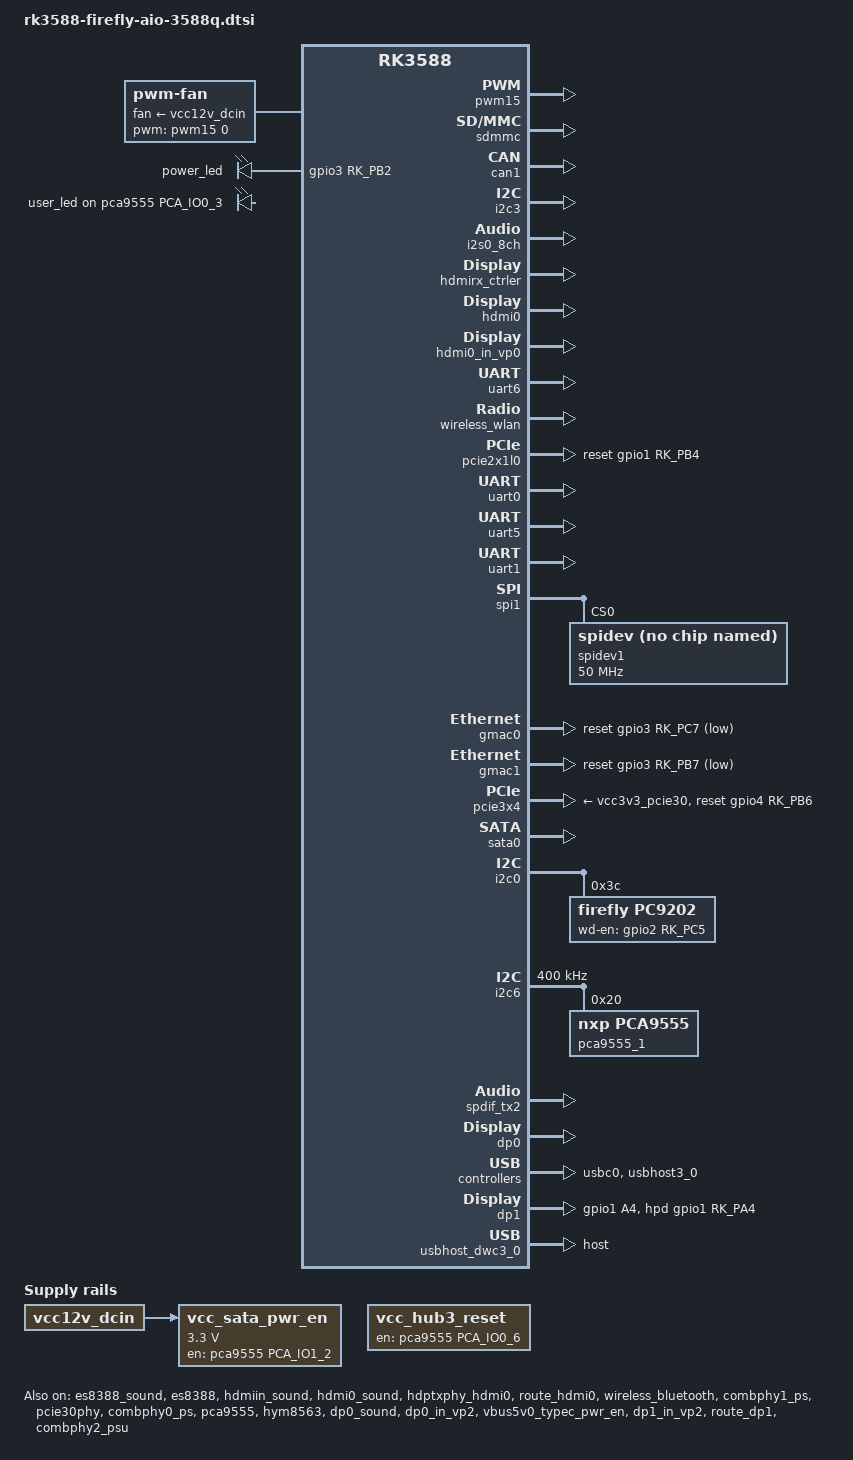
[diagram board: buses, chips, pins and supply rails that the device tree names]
// SPDX-License-Identifier: (GPL-2.0+ OR MIT)
/*
 * Copyright (c) 2021 Rockchip Electronics Co., Ltd.
 *
 */
 
#define rk3588
#include "rk3588-firefly-port.dtsi"
#include "rk3588-diff.dtsi"

#define M2_SATA_OR_PCIE 1 /*1 = SATA , 0 = PCIe */

 / {
	chosen: chosen {
		bootargs = "earlycon=uart8250,mmio32,0xfeb50000 console=ttyFIQ0 irqchip.gicv3_pseudo_nmi=0 root=PARTLABEL=rootfs rootfstype=ext4 ro rootwait overlayroot=device:dev=PARTLABEL=userdata,fstype=ext4,mkfs=1 coherent_pool=1m systemd.gpt_auto=0 cgroup_enable=memory swapaccount=1 net.ifnames=0";
	};
	fan: pwm-fan {
		compatible = "pwm-fan";
		#cooling-cells = <2>;
		fan-supply = <&vcc12v_dcin>;
		pwms = <&pwm15 0 50000 0>;
	};

};

/* recovery key*/
&adc_keys{
	keyup-threshold-microvolt = <550000>;
	status="okay";
};

/* led */
&power_led{
	gpios = <&gpio3 RK_PB2 GPIO_ACTIVE_HIGH>;
	pinctrl-names = "default";
	pinctrl-0 = <&led_power>;
};

&user_led{
	gpios = <&pca9555 PCA_IO0_3 GPIO_ACTIVE_HIGH>;
};

&pwm15 {
	pinctrl-0 = <&pwm15m2_pins>;
	status = "okay";
};


/* tf-card */
&sdmmc {
	status = "okay";
};

&vcc_sdcard_pwr_en{
	gpio = <&pca9555 PCA_IO1_5 GPIO_ACTIVE_HIGH>;  //PCA_IO 15
	status = "okay";
};

/* can1 */
&can1 {
	status = "okay";
	assigned-clocks = <&cru CLK_CAN1>;
	assigned-clock-rates = <200000000>;
	pinctrl-names = "default";
	pinctrl-0 = <&can1m1_pins>;
};

/* es8323 audio codec */
&i2c3 {
	status = "okay";
};

&es8388_sound{
	firefly,not-use-dapm;
	/delete-property/ spk-con-gpio;
	io-channels = <&saradc 1>;
	linein-type = <4>;
	status = "okay";
};

&es8388{
	status = "okay";
};

&i2s0_8ch{
	status = "okay";
};

/* hdmi rx */
&hdmiin_sound{
	status = "okay";
};

&hdmirx_ctrler {
	status = "okay";
	hpd-trigger-level = <1>;
	hdmirx-det-gpios = <&gpio1 RK_PD5 GPIO_ACTIVE_LOW>;
};

/* hdmi0 */
&hdmi0 {
	enable-gpios = <&gpio4 RK_PA0 GPIO_ACTIVE_HIGH>;
	status = "okay";
};

&hdmi0_in_vp0 {
	status = "okay";
};

&hdmi0_sound {
	status = "okay";
};

&hdptxphy_hdmi0 {
	status = "okay";
};

&route_hdmi0{
	status = "okay";
};

/*ap6275 : bluetooth*/
&wireless_bluetooth{
	status = "okay";
};

&uart6 {
	pinctrl-names = "default";
	pinctrl-0 = <&uart6m1_xfer &uart6m1_ctsn>;
	status = "okay";
};

/* ap6275 : wifi */
&wireless_wlan{
	wifi_chip_type = "ap6275p";
	status = "okay";
};

&combphy1_ps {
	status = "okay";
};

&pcie2x1l0 {
	reset-gpios = <&gpio1 RK_PB4 GPIO_ACTIVE_HIGH>;
	rockchip,skip-scan-in-resume;
	status = "okay";
};

/* RS232_0 */
&uart0{
	pinctrl-0 = <&uart0m2_xfer>;
	status = "okay";
};

/* RS232_1 */
&uart5{
	pinctrl-0 = <&uart5m1_xfer>;
	status = "okay";
};

/* RS485 */
&uart1{
	pinctrl-0 = <&uart1m1_xfer>;
	status = "okay";
};

/* spi1 */
&spi1 {
	status = "okay";
	pinctrl-0 = <&spi1m2_cs0 &spi1m2_pins>;
	num-cs = <1>;
	max-freq = <50000000>;
    spidev1: spidev@0{
        compatible = "rockchip,spidev";
        status = "okay";
        reg = <0x0>;
        spi-max-frequency = <50000000>;
    };
};

/* gamc0 */
&gmac0 {
	snps,reset-gpio = <&gpio3 RK_PC7 GPIO_ACTIVE_LOW>;
	tx_delay = <0x47>;
	status = "okay";
};

&gmac0_tx_bus2{
    rockchip,pins =
    /* gmac0_txd0 */
    <2 RK_PB6 1 &pcfg_pull_up_drv_level_6>,
    /* gmac0_txd1 */
    <2 RK_PB7 1 &pcfg_pull_up_drv_level_6>,
    /* gmac0_txen */
    <2 RK_PC0 1 &pcfg_pull_none>;
};

&gmac0_rgmii_bus{
	rockchip,pins =
	/* gmac0_rxd2 */
	<2 RK_PA6 1 &pcfg_pull_none>,
	/* gmac0_rxd3 */
	<2 RK_PA7 1 &pcfg_pull_none>,
	/* gmac0_txd2 */
	<2 RK_PB1 1 &pcfg_pull_up_drv_level_6>,
	/* gmac0_txd3 */
	<2 RK_PB2 1 &pcfg_pull_up_drv_level_6>;
};

/* gmac1 */
&gmac1 {
	snps,reset-gpio = <&gpio3 RK_PB7 GPIO_ACTIVE_LOW>;
	tx_delay = <0x4f>;
	status = "okay";
};

&gmac1_tx_bus2{
	rockchip,pins =
	/* gmac1_txd0 */
	<3 RK_PB3 1 &pcfg_pull_up_drv_level_6>,
    /* gmac1_txd1 */
	<3 RK_PB4 1 &pcfg_pull_up_drv_level_6>,
	/* gmac1_txen */
	<3 RK_PB5 1 &pcfg_pull_none>;
};

&gmac1_rgmii_bus{
	rockchip,pins =
	/* gmac1_rxd2 */
	<3 RK_PA2 1 &pcfg_pull_none>,
	/* gmac1_rxd3 */
	<3 RK_PA3 1 &pcfg_pull_none>,
	/* gmac1_txd2 */
	<3 RK_PA0 1 &pcfg_pull_up_drv_level_6>,
	/* gmac1_txd3 */
	<3 RK_PA1 1 &pcfg_pull_up_drv_level_6>;
};

/* pcie3.0 x 4 slot */
&pcie30phy {
	status = "okay";
};

&pcie3x4 {
	reset-gpios = <&gpio4 RK_PB6 GPIO_ACTIVE_HIGH>;
	vpcie3v3-supply = <&vcc3v3_pcie30>;
	status = "okay";
};

&vcc3v3_pcie30{
	gpios = <&gpio4 RK_PC6 GPIO_ACTIVE_HIGH>;
	startup-delay-us = <5000>;
	status = "okay";
};

/* sata pm */
&combphy0_ps {
	status = "okay";
};


#if M2_SATA_OR_PCIE
&sata0 {
    //pinctrl-names = "default";
    //pinctrl-0 = <&sata_reset>;
	status = "okay";
};
#else
&pcie2x1l2 {
	reset-gpios = <&pca9555 PCA_IO1_6 GPIO_ACTIVE_HIGH>;
	vpcie3v3-supply = <&vcc_sata_pwr_en>;
	status = "okay";
};
#endif

&vcc_sata_pwr_en{
	status = "okay";
	gpio = <&pca9555 PCA_IO1_2 GPIO_ACTIVE_HIGH>;  //PCA_IO 12
	regulator-min-microvolt = <3300000>;
	regulator-max-microvolt = <3300000>;
	regulator-always-on;
	enable-active-high;
	startup-delay-us = <5000>;
	vin-supply = <&vcc12v_dcin>;
};

/* usb power */
&vcc5v0_host{
	gpio = <&pca9555 PCA_IO0_5 GPIO_ACTIVE_HIGH>;
	vin-supply = <&vcc5v0_usb>;
	status = "okay";
};

&vcc_hub_reset{
	status = "okay"; 
	gpio = <&pca9555 PCA_IO0_4 GPIO_ACTIVE_HIGH>;  //PCA_IO 04
};

&vcc_hub3_reset{
	status = "okay";
	compatible = "regulator-fixed-firefly","regulator-fixed-firefly-uboot";
	regulator-name = "vcc_hub3_reset";
	enable-active-high;
	enable-active-low-uboot;
	regulator-always-on;
	regulator-fixed-kernel-reset-ms = <3000>;
	gpio = <&pca9555 PCA_IO0_6 GPIO_ACTIVE_HIGH>;  //PCA_IO 06
};

&vcc5v0_host3{
	gpio = <&pca9555 PCA_IO0_7 GPIO_ACTIVE_HIGH>;  //PCA_IO 07
	status = "okay";
};

&i2c0 {
	status = "okay";

    pc9202@3c {
        status = "okay";
        compatible = "firefly,pc9202";
        reg = <0x3c>;
		//pinctrl-names = "default";
		//pinctrl-0 = <&pc9202_en_pin>;
        //wd-en-gpio = <&gpio4 RK_PD1 GPIO_ACTIVE_HIGH>;
        wd-en-gpio = <&gpio2 RK_PC5 GPIO_ACTIVE_HIGH>;
    };
};

/* i2c6 */
&i2c6 {
	clock-frequency = <400000>; // For others Display Port Screen
	status = "okay";

	pca9555_1: gpio@20 {
        compatible = "nxp,pca9555";
        reg = <0x20>;
        gpio-controller;
        #gpio-cells = <2>;
        gpio-group-num = <300>;
        status = "okay";
    };

};

/* pca9555 */
&pca9555{ 
	status = "okay"; 
};

/* rtc */
&hym8563{
	interrupt-parent = <&gpio0>;
	interrupts = <RK_PB0 IRQ_TYPE_LEVEL_LOW>;
	status = "okay";
};

/* display port0 */
&spdif_tx2{
	status = "okay";
};

&dp0_sound{
	status = "okay";
};

&dp0 {
	status = "okay";
};

&dp0_in_vp2 {
	status = "okay";
};

&usbc0{
	status = "okay";
	interrupt-parent = <&gpio0>;
	interrupts = <RK_PD3 IRQ_TYPE_LEVEL_LOW>;
};

&vbus5v0_typec_pwr_en{
	status = "okay";
	gpio = <&pca9555 PCA_IO1_4 GPIO_ACTIVE_HIGH>;  //PCA_IO 14
};

&usbdp_phy0 {
    sbu1-dc-gpios = <&pca9555 PCA_IO1_0 GPIO_ACTIVE_HIGH>;
    sbu2-dc-gpios = <&pca9555 PCA_IO1_1 GPIO_ACTIVE_HIGH>;
};

/* display port1 to vga */
&dp1_in_vp2 {
	status = "okay";
};

&dp1 {
	pinctrl-names = "default";
	pinctrl-0 = <&dp1_hpd>;
	hpd-gpios = <&gpio1 RK_PA4 GPIO_ACTIVE_HIGH>;
	status = "okay";
};
&route_dp1{
	status = "okay";
	connect = <&vp2_out_dp1>;
};

/*usb3.1 host2 controller for 5G module*/
&usbhost3_0 {
    status = "okay";
};

&usbhost_dwc3_0 {
    dr_mode = "host";
    status = "okay";
};

&combphy2_psu {
    status = "okay"; // USB3.1/SATA/PCIe Combo PHY

};


/* pinctrl */
&pinctrl {

	dp {
		dp1_hpd: dp1-hpd {
			 rockchip,pins = <1 RK_PA4 RK_FUNC_GPIO &pcfg_pull_none>;
		};
	};

	leds {
		led_power: led-power {
			rockchip,pins = <3 RK_PB2 RK_FUNC_GPIO &pcfg_pull_none>;
		};
 	};

	hdmirx {
		hdmirx_det: hdmirx-det {
			rockchip,pins = <1 RK_PD5 RK_FUNC_GPIO &pcfg_pull_up>;
		};
	};

	headphone {
		hp_det: hp-det {
			rockchip,pins = <1 RK_PC4 RK_FUNC_GPIO &pcfg_pull_none>;
		};
	};

	hym8563 {
		hym8563_int: hym8563-int {
			rockchip,pins = <0 RK_PB0 RK_FUNC_GPIO &pcfg_pull_up>;
		};
	};

	lcd {
		lcd_rst_gpio: lcd-rst-gpio {
			rockchip,pins = <2 RK_PB4 RK_FUNC_GPIO &pcfg_pull_none>;
		};
	};

	touch {
		touch_gpio: touch-gpio {
			rockchip,pins =
				<0 RK_PD5 RK_FUNC_GPIO &pcfg_pull_up>,
				<0 RK_PC6 RK_FUNC_GPIO &pcfg_pull_none>;
		};
	};

	usb-typec { 
		usbc0_int: usbc0-int { 
			rockchip,pins = <0 RK_PD3 RK_FUNC_GPIO &pcfg_pull_up>; 
		}; 
	};

	wireless-bluetooth {
		uart6_gpios: uart6-gpios {
			rockchip,pins = <1 RK_PA2 RK_FUNC_GPIO &pcfg_pull_none>;
		};

		bt_reset_gpio: bt-reset-gpio {
			rockchip,pins = <0 RK_PC6 RK_FUNC_GPIO &pcfg_pull_none>;
		};

		bt_wake_gpio: bt-wake-gpio {
			rockchip,pins = <0 RK_PC5 RK_FUNC_GPIO &pcfg_pull_none>;
		};

		bt_irq_gpio: bt-irq-gpio {
			rockchip,pins = <0 RK_PA0 RK_FUNC_GPIO &pcfg_pull_down>;
		};
	};

	wireless-wlan {
		wifi_host_wake_irq: wifi-host-wake-irq {
			rockchip,pins = <0 RK_PB2 RK_FUNC_GPIO &pcfg_pull_down>;
		};

		wifi_poweren_gpio: wifi-poweren-gpio {
			rockchip,pins = <0 RK_PC4 RK_FUNC_GPIO &pcfg_pull_up>;
		};
	};
};

